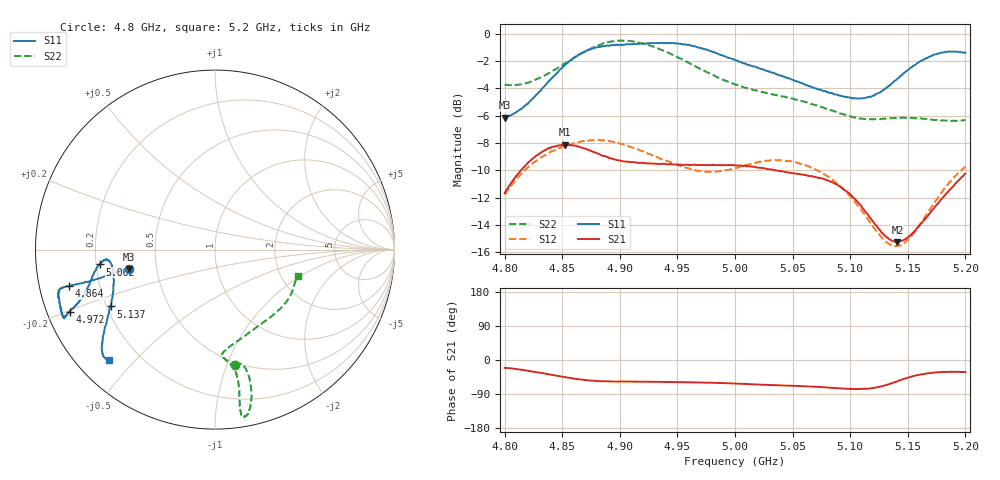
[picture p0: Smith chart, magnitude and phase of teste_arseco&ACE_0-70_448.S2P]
! Network Analyzer HP8722D
! Hewlett-Packard
! Data name: Linha & Wilkinson
! Saver's name: Rodrigo Anjos
! Comments: Teste da utilização de aquisição
! continua pelo VNA HP8722D
! Time and date: 8/5/2025 16:29
!  Frequency  S11  S21  S12  S22
# HZ  S  MA R 50
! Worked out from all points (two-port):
!   401 points, 4.8 GHz to 5.2 GHz, reference 50 ohm
!   highest |S21| = -8.13 dB at 4.852 GHz (marker M1); lowest = -15.3 dB at 5.141 GHz (marker M2)
!   |S21| within 3 dB of the highest: 4.804 GHz to 5.09 GHz (286.2 MHz wide, 5.78 % of centre); 5.189861 GHz to end of sweep
!   lowest |S11| = -6.1 dB at 4.8 GHz (marker M3), VSWR 2.94, Z = 17.2 - j4.86 ohm
!   |S11| at or under -10 dB: nowhere
!   |S22| runs from -6.4 to -0.5 dB; largest |S21 - S12| = 0.62
!   S11 on the Smith chart (normalised r, x): 4.8 GHz: 0.34, -0.10; 4.864 GHz: 0.09, -0.12; 4.972 GHz: 0.07, -0.20; 5.062 GHz: 0.22, -0.06; 5.137 GHz: 0.22, -0.24; 5.2 GHz: 0.09, -0.42
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4.8e9  0.4927 -167.4  0.2611 -20.7  0.258 -141.7  0.6526 -80.2
4.826e9  0.5886 -166.8  0.3535 -31.1  0.3391 -145.8  0.6761 -75.8
4.852e9  0.7663 -165.9  0.3922 -45.1  0.3882 -150.6  0.7783 -75.1
4.864e9  0.8376 -166.0  0.3869 -50.5  0.4004 -152.5  0.8335 -76.0
4.867e9  0.8499 -166.0  0.383 -51.9  0.4036 -153.0  0.8492 -76.1
4.88e9  0.8917 -165.7  0.3655 -55.4  0.4084 -154.9  0.9032 -77.5
4.899e9  0.912 -163.0  0.3438 -57.1  0.3982 -157.3  0.9438 -79.8
4.934e9  0.9248 -156.6  0.3333 -57.8  0.3514 -155.9  0.8802 -81.0
4.972e9  0.8803 -156.7  0.3309 -59.3  0.3131 -146.5  0.7368 -80.1
5e9  0.803 -159.3  0.3299 -62.2  0.3221 -137.7  0.6521 -81.6
5.036e9  0.7125 -166.1  0.3158 -66.6  0.3439 -135.1  0.5965 -86.0
5.062e9  0.6471 -172.7  0.3034 -69.5  0.3291 -137.1  0.562 -83.8
5.067e9  0.638 -173.4  0.3015 -70.0  0.3227 -137.7  0.5527 -82.7
5.082e9  0.6071 -174.9  0.2889 -72.9  0.2976 -139.2  0.5268 -76.9
5.1e9  0.583 -171.9  0.2583 -76.1  0.2542 -139.4  0.4992 -66.5
5.116e9  0.5872 -164.4  0.2157 -75.7  0.2077 -135.2  0.4865 -55.1
5.134e9  0.6454 -153.2  0.1767 -63.6  0.1695 -119.0  0.49 -42.9
5.137e9  0.6626 -151.5  0.1738 -60.5  0.1674 -115.0  0.4914 -41.1
5.141e9  0.6849 -149.5  0.1727 -55.8  0.167 -109.8  0.4921 -38.7
5.154e9  0.7583 -144.1  0.1861 -43.3  0.1842 -93.8  0.4909 -32.1
5.173e9  0.8391 -138.8  0.231 -33.3  0.24 -80.8  0.484 -24.1
5.2e9  0.8525 -133.8  0.3074 -32.0  0.3259 -77.7  0.4828 -17.6
